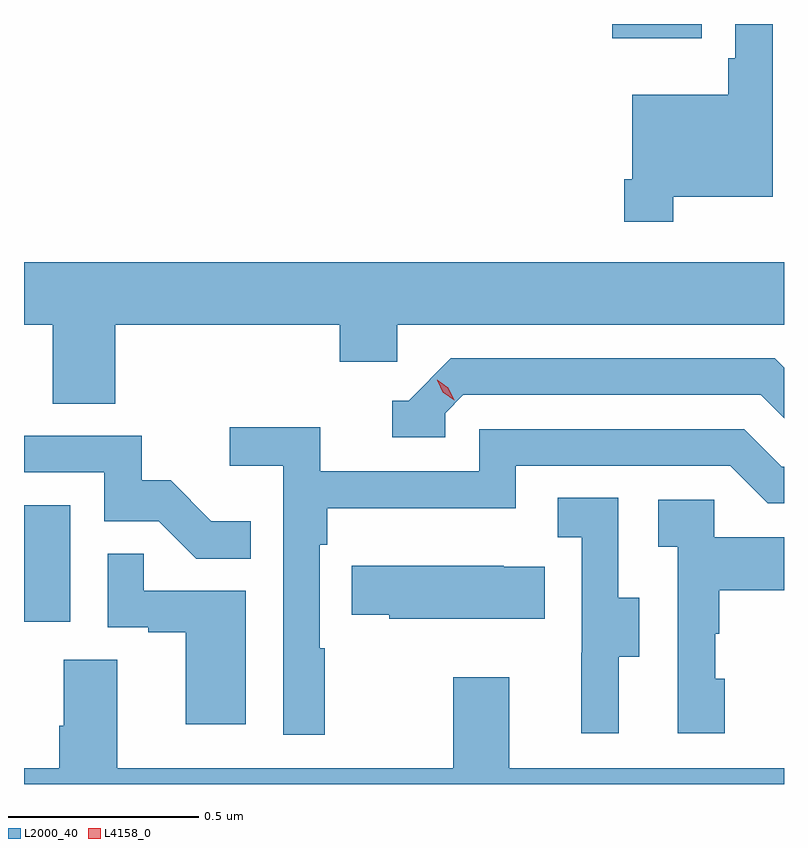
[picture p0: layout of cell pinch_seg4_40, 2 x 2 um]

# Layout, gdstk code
import gdstk
lib = gdstk.Library(unit=1e-6, precision=1e-09)
def R(c, l, rs):  # rectangles x0, y0, x1, y1
    for r in rs: c.add(gdstk.rectangle(r[:2], r[2:], *l))
def P(c, l, *ps):  # polygons
    for p in ps: c.add(gdstk.Polygon(p, *l))
L2000_40 = (2000, 40)
L4158_0 = (4158, 0)

pinch_seg4_40 = lib.new_cell('pinch_seg4_40')
R(pinch_seg4_40, L2000_40, [(1126.178,820.014,1126.3,820.321), (1127.726,821.549,1127.962,821.587)])
P(pinch_seg4_40, L2000_40, [(1127.887,821.132),(1128.148,821.132),(1128.148,821.587),(1128.05,821.587),(1128.05,821.497),(1128.031,821.497),(1128.031,821.401),(1127.778,821.401),(1127.778,821.179),(1127.758,821.179),(1127.758,821.067),(1127.887,821.067)],
  [(1126.418,820.796),(1127.009,820.796),(1127.009,820.698),(1127.16,820.698),(1127.16,820.796),(1128.178,820.796),(1128.178,820.96),(1126.178,820.96),(1126.178,820.796),(1126.253,820.796),(1126.253,820.588),(1126.418,820.588)],
  [(1127.286,820.563),(1127.334,820.611),(1128.117,820.611),(1128.178,820.55),(1128.178,820.683),(1128.154,820.707),(1127.301,820.707),(1127.19,820.596),(1127.147,820.596),(1127.147,820.5),(1127.286,820.5)],
  [(1126.969,819.944),(1126.956,819.944),(1126.956,820.217),(1126.976,820.217),(1126.976,820.313),(1127.472,820.313),(1127.472,820.425),(1128.036,820.425),(1128.135,820.326),(1128.178,820.326),(1128.178,820.422),(1128.172,820.422),(1128.073,820.521),(1127.376,820.521),(1127.376,820.41),(1126.958,820.41),(1126.958,820.526),(1126.719,820.526),(1126.719,820.424),(1126.86,820.424),(1126.86,819.717),(1126.969,819.717)],
  [(1126.775,820.279),(1126.671,820.279),(1126.564,820.386),(1126.488,820.386),(1126.488,820.503),(1126.178,820.503),(1126.178,820.407),(1126.389,820.407),(1126.389,820.278),(1126.533,820.278),(1126.631,820.18),(1126.775,820.18)],
  [(1127.743,819.922),(1127.797,819.922),(1127.797,820.077),(1127.742,820.077),(1127.742,820.34),(1127.583,820.34),(1127.583,820.237),(1127.646,820.237),(1127.646,819.933),(1127.645,819.933),(1127.645,819.72),(1127.743,819.72)],
  [(1128.022,819.864),(1127.997,819.864),(1127.997,819.983),(1128.007,819.983),(1128.007,820.097),(1128.178,820.097),(1128.178,820.237),(1127.994,820.237),(1127.994,820.335),(1127.847,820.335),(1127.847,820.211),(1127.898,820.211),(1127.898,819.72),(1128.022,819.72)],
  [(1126.762,820.095),(1126.493,820.095),(1126.493,820.193),(1126.398,820.193),(1126.398,819.999),(1126.505,819.999),(1126.505,819.987),(1126.604,819.987),(1126.604,819.744),(1126.762,819.744)],
  [(1127.549,820.159),(1127.441,820.159),(1127.441,820.162),(1127.041,820.162),(1127.041,820.033),(1127.139,820.033),(1127.139,820.022),(1127.549,820.022)],
  [(1128.178,819.628),(1127.455,819.628),(1127.455,819.868),(1127.308,819.868),(1127.308,819.628),(1126.423,819.628),(1126.423,819.914),(1126.283,819.914),(1126.283,819.74),(1126.271,819.74),(1126.271,819.628),(1126.178,819.628),(1126.178,819.587),(1128.178,819.587)])
P(pinch_seg4_40, L4158_0, [(1127.31,820.597),(1127.28,820.618),(1127.265,820.65),(1127.265,820.651),(1127.265,820.651),(1127.295,820.63),(1127.31,820.598),(1127.31,820.597)])

lib.write_gds('pinch_seg4_40.gds')
